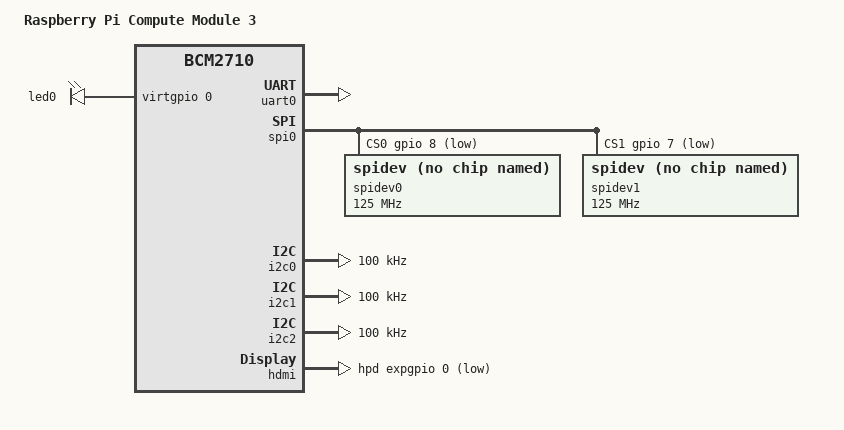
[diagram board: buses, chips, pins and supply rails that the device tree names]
/dts-v1/;

#include "bcm2710.dtsi"
#include "bcm283x-rpi-csi0-2lane.dtsi"
#include "bcm283x-rpi-csi1-4lane.dtsi"

/ {
	model = "Raspberry Pi Compute Module 3";
};

&uart0 {
	status = "okay";
};

&gpio {
	spi0_pins: spi0_pins {
		brcm,pins = <9 10 11>;
		brcm,function = <4>; /* alt0 */
	};

	spi0_cs_pins: spi0_cs_pins {
		brcm,pins = <8 7>;
		brcm,function = <1>; /* output */
	};

	i2c0_pins: i2c0 {
		brcm,pins = <0 1>;
		brcm,function = <4>;
	};

	i2c1_pins: i2c1 {
		brcm,pins = <2 3>;
		brcm,function = <4>;
	};

	i2s_pins: i2s {
		brcm,pins = <18 19 20 21>;
		brcm,function = <4>; /* alt0 */
	};

	audio_pins: audio_pins {
		brcm,pins;
		brcm,function;
	};
};

&soc {
	virtgpio: virtgpio {
		compatible = "brcm,bcm2835-virtgpio";
		gpio-controller;
		#gpio-cells = <2>;
		firmware = <&firmware>;
		status = "okay";
	};

};

&firmware {
	expgpio: expgpio {
		compatible = "raspberrypi,firmware-gpio";
		gpio-controller;
		#gpio-cells = <2>;
		status = "okay";
	};
};

&spi0 {
	pinctrl-names = "default";
	pinctrl-0 = <&spi0_pins &spi0_cs_pins>;
	cs-gpios = <&gpio 8 1>, <&gpio 7 1>;

	spidev0: spidev@0{
		compatible = "spidev";
		reg = <0>;	/* CE0 */
		#address-cells = <1>;
		#size-cells = <0>;
		spi-max-frequency = <125000000>;
	};

	spidev1: spidev@1{
		compatible = "spidev";
		reg = <1>;	/* CE1 */
		#address-cells = <1>;
		#size-cells = <0>;
		spi-max-frequency = <125000000>;
	};
};

&i2c0 {
	pinctrl-names = "default";
	pinctrl-0 = <&i2c0_pins>;
	clock-frequency = <100000>;
};

&i2c1 {
	pinctrl-names = "default";
	pinctrl-0 = <&i2c1_pins>;
	clock-frequency = <100000>;
};

&i2c2 {
	clock-frequency = <100000>;
};

&i2s {
	pinctrl-names = "default";
	pinctrl-0 = <&i2s_pins>;
};

&leds {
	act_led: act {
		label = "led0";
		linux,default-trigger = "mmc0";
		gpios = <&virtgpio 0 0>;
	};
};

&hdmi {
	hpd-gpios = <&expgpio 0 GPIO_ACTIVE_LOW>;
};

&audio {
	pinctrl-names = "default";
	pinctrl-0 = <&audio_pins>;
};

/ {
	__overrides__ {
		act_led_gpio = <&act_led>,"gpios:4";
		act_led_activelow = <&act_led>,"gpios:8";
		act_led_trigger = <&act_led>,"linux,default-trigger";
	};
};
